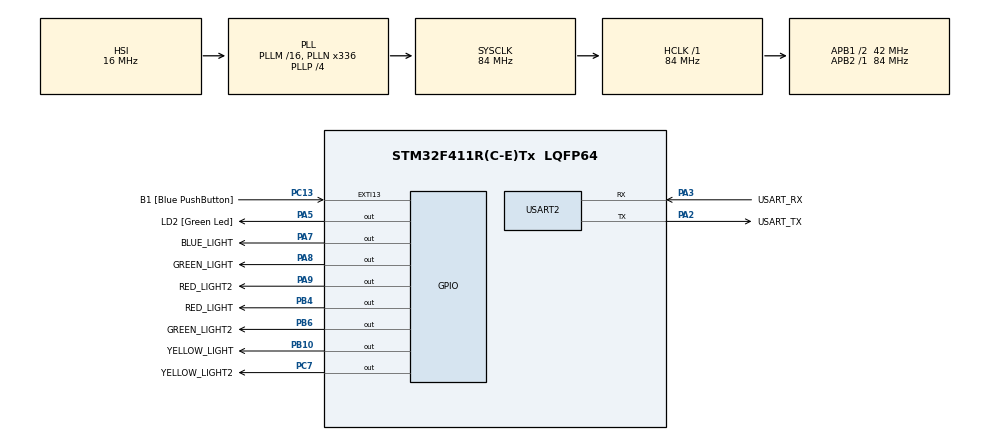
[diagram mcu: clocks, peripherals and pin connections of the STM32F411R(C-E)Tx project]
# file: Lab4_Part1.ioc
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FREERTOS.BinarySemaphores01=BinarySem1,Dynamic,NULL
FREERTOS.Tasks01=light1,24,128,StartLight1,Default,NULL,Dynamic,NULL,NULL;light2,24,128,StartLight2,Default,NULL,Dynamic,NULL,NULL
Mcu.Family=STM32F4
Mcu.Name=STM32F411R(C-E)Tx
Mcu.Package=LQFP64
NVIC.EXTI15_10_IRQn=true\:5\:0\:false\:false\:true\:true\:true\:true\:true
NVIC.PriorityGroup=NVIC_PRIORITYGROUP_4
NVIC.TIM5_IRQn=true\:15\:0\:false\:false\:true\:false\:false\:true\:true
NVIC.TimeBase=TIM5_IRQn
NVIC.TimeBaseIP=TIM5
PA13.GPIO_Label=TMS
PA13.Mode=Serial_Wire
PA13.Signal=SYS_JTMS-SWDIO
PA14.GPIO_Label=TCK
PA14.Mode=Serial_Wire
PA14.Signal=SYS_JTCK-SWCLK
PA2.GPIO_Label=USART_TX
PA2.Mode=Asynchronous
PA2.Signal=USART2_TX
PA3.GPIO_Label=USART_RX
PA3.Mode=Asynchronous
PA3.Signal=USART2_RX
PA5.GPIO_Label=LD2 [Green Led]
PA5.Signal=GPIO_Output
PA7.GPIO_Label=BLUE_LIGHT
PA7.Signal=GPIO_Output
PA8.GPIO_Label=GREEN_LIGHT
PA8.Signal=GPIO_Output
PA9.GPIO_Label=RED_LIGHT2
PA9.Signal=GPIO_Output
PB10.GPIO_Label=YELLOW_LIGHT
PB10.Signal=GPIO_Output
PB3.GPIO_Label=SWO
PB3.Signal=SYS_JTDO-SWO
PB4.GPIO_Label=RED_LIGHT
PB4.Signal=GPIO_Output
PB6.GPIO_Label=GREEN_LIGHT2
PB6.Signal=GPIO_Output
PC13-ANTI_TAMP.GPIO_Label=B1 [Blue PushButton]
PC13-ANTI_TAMP.GPIO_ModeDefaultEXTI=GPIO_MODE_IT_FALLING
PC13-ANTI_TAMP.Signal=GPXTI13
PC14-OSC32_IN.Mode=LSE-External-Oscillator
PC14-OSC32_IN.Signal=RCC_OSC32_IN
PC15-OSC32_OUT.Mode=LSE-External-Oscillator
PC15-OSC32_OUT.Signal=RCC_OSC32_OUT
PC7.GPIO_Label=YELLOW_LIGHT2
PC7.Signal=GPIO_Output
PH0\ -\ OSC_IN.Mode=HSE-External-Clock-Source
PH0\ -\ OSC_IN.Signal=RCC_OSC_IN
PH1\ -\ OSC_OUT.Mode=HSE-External-Clock-Source
PH1\ -\ OSC_OUT.Signal=RCC_OSC_OUT
ProjectManager.HeapSize=0x200
ProjectManager.StackSize=0x400
ProjectManager.TargetToolchain=STM32CubeIDE
RCC.48MHZClocksFreq_Value=84000000
RCC.AHBFreq_Value=84000000
RCC.APB1CLKDivider=RCC_HCLK_DIV2
RCC.APB1Freq_Value=42000000
RCC.APB1TimFreq_Value=84000000
RCC.APB2Freq_Value=84000000
RCC.APB2TimFreq_Value=84000000
RCC.CortexFreq_Value=84000000
RCC.FLatency-AdvancedSettings=FLASH_LATENCY_2
RCC.HCLKFreq_Value=84000000
RCC.HSE_VALUE=8000000
RCC.HSI_VALUE=16000000
RCC.PLLN=336
RCC.PLLP=RCC_PLLP_DIV4
RCC.SYSCLKFreq_VALUE=84000000
RCC.SYSCLKSource=RCC_SYSCLKSOURCE_PLLCLK
RCC.VCOOutputFreq_Value=336000000
USART2.VirtualMode=VM_ASYNC
VP_FREERTOS_VS_CMSIS_V2.Mode=CMSIS_V2
VP_SYS_VS_tim5.Mode=TIM5
board=NUCLEO-F411RE

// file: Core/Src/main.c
/* USER CODE BEGIN Header */
/**
  ******************************************************************************
  * @file           : main.c
  * @brief          : Main program body
  ******************************************************************************
  * @attention
  *
  * Copyright (c) 2023 STMicroelectronics.
  * All rights reserved.
  *
  * This software is licensed under terms that can be found in the LICENSE file
  * in the root directory of this software component.
  * If no LICENSE file comes with this software, it is provided AS-IS.
  *
  ******************************************************************************
  */
/* USER CODE END Header */
#include "main.h"
#include "cmsis_os.h"

UART_HandleTypeDef huart2;

/* Definitions for light1 */
osThreadId_t light1Handle;
const osThreadAttr_t light1_attributes = {
  .name = "light1",
  .stack_size = 128 * 4,
  .priority = (osPriority_t) osPriorityNormal,
};
/* Definitions for light2 */
osThreadId_t light2Handle;
const osThreadAttr_t light2_attributes = {
  .name = "light2",
  .stack_size = 128 * 4,
  .priority = (osPriority_t) osPriorityNormal,
};
/* Definitions for BinarySem1 */
osSemaphoreId_t BinarySem1Handle;
const osSemaphoreAttr_t BinarySem1_attributes = {
  .name = "BinarySem1"
};

void SystemClock_Config(void);
static void MX_GPIO_Init(void);
static void MX_USART2_UART_Init(void);
void StartLight1(void *argument);
void StartLight2(void *argument);

int main(void)
{

  /* MCU Configuration--------------------------------------------------------*/

  /* Reset of all peripherals, Initializes the Flash interface and the Systick. */
  HAL_Init();

  /* Configure the system clock */
  SystemClock_Config();

  /* Initialize all configured peripherals */
  MX_GPIO_Init();
  MX_USART2_UART_Init();

  /* Init scheduler */
  osKernelInitialize();

  /* Create the semaphores(s) */
  /* creation of BinarySem1 */
  BinarySem1Handle = osSemaphoreNew(1, 1, &BinarySem1_attributes);

  /* Create the thread(s) */
  /* creation of light1 */
  light1Handle = osThreadNew(StartLight1, NULL, &light1_attributes);

  /* creation of light2 */
  light2Handle = osThreadNew(StartLight2, NULL, &light2_attributes);

  /* Start scheduler */
  osKernelStart();
  /* We should never get here as control is now taken by the scheduler */
  /* Infinite loop */
  while (1)
  {

  }
}

void SystemClock_Config(void)
{
  RCC_OscInitTypeDef RCC_OscInitStruct = {0};
  RCC_ClkInitTypeDef RCC_ClkInitStruct = {0};

  /** Configure the main internal regulator output voltage
  */
  __HAL_RCC_PWR_CLK_ENABLE();
  __HAL_PWR_VOLTAGESCALING_CONFIG(PWR_REGULATOR_VOLTAGE_SCALE1);

  /** Initializes the RCC Oscillators according to the specified parameters
  * in the RCC_OscInitTypeDef structure.
  */
  RCC_OscInitStruct.OscillatorType = RCC_OSCILLATORTYPE_HSI;
  RCC_OscInitStruct.HSIState = RCC_HSI_ON;
  RCC_OscInitStruct.HSICalibrationValue = RCC_HSICALIBRATION_DEFAULT;
  RCC_OscInitStruct.PLL.PLLState = RCC_PLL_ON;
  RCC_OscInitStruct.PLL.PLLSource = RCC_PLLSOURCE_HSI;
  RCC_OscInitStruct.PLL.PLLM = 16;
  RCC_OscInitStruct.PLL.PLLN = 336;
  RCC_OscInitStruct.PLL.PLLP = RCC_PLLP_DIV4;
  RCC_OscInitStruct.PLL.PLLQ = 4;
  if (HAL_RCC_OscConfig(&RCC_OscInitStruct) != HAL_OK)
  {
    Error_Handler();
  }

  /** Initializes the CPU, AHB and APB buses clocks
  */
  RCC_ClkInitStruct.ClockType = RCC_CLOCKTYPE_HCLK|RCC_CLOCKTYPE_SYSCLK
                              |RCC_CLOCKTYPE_PCLK1|RCC_CLOCKTYPE_PCLK2;
  RCC_ClkInitStruct.SYSCLKSource = RCC_SYSCLKSOURCE_PLLCLK;
  RCC_ClkInitStruct.AHBCLKDivider = RCC_SYSCLK_DIV1;
  RCC_ClkInitStruct.APB1CLKDivider = RCC_HCLK_DIV2;
  RCC_ClkInitStruct.APB2CLKDivider = RCC_HCLK_DIV1;

  if (HAL_RCC_ClockConfig(&RCC_ClkInitStruct, FLASH_LATENCY_2) != HAL_OK)
  {
    Error_Handler();
  }
}

static void MX_USART2_UART_Init(void)
{

  huart2.Instance = USART2;
  huart2.Init.BaudRate = 115200;
  huart2.Init.WordLength = UART_WORDLENGTH_8B;
  huart2.Init.StopBits = UART_STOPBITS_1;
  huart2.Init.Parity = UART_PARITY_NONE;
  huart2.Init.Mode = UART_MODE_TX_RX;
  huart2.Init.HwFlowCtl = UART_HWCONTROL_NONE;
  huart2.Init.OverSampling = UART_OVERSAMPLING_16;
  if (HAL_UART_Init(&huart2) != HAL_OK)
  {
    Error_Handler();
  }

}

static void MX_GPIO_Init(void)
{
  GPIO_InitTypeDef GPIO_InitStruct = {0};

  /* GPIO Ports Clock Enable */
  __HAL_RCC_GPIOC_CLK_ENABLE();
  __HAL_RCC_GPIOH_CLK_ENABLE();
  __HAL_RCC_GPIOA_CLK_ENABLE();
  __HAL_RCC_GPIOB_CLK_ENABLE();

  /*Configure GPIO pin Output Level */
  HAL_GPIO_WritePin(GPIOA, LD2_Pin|BLUE_LIGHT_Pin|GREEN_LIGHT_Pin|RED_LIGHT2_Pin, GPIO_PIN_RESET);

  /*Configure GPIO pin Output Level */
  HAL_GPIO_WritePin(GPIOB, YELLOW_LIGHT_Pin|RED_LIGHT_Pin|GREEN_LIGHT2_Pin, GPIO_PIN_RESET);

  /*Configure GPIO pin Output Level */
  HAL_GPIO_WritePin(YELLOW_LIGHT2_GPIO_Port, YELLOW_LIGHT2_Pin, GPIO_PIN_RESET);

  /*Configure GPIO pin : B1_Pin */
  GPIO_InitStruct.Pin = B1_Pin;
  GPIO_InitStruct.Mode = GPIO_MODE_IT_FALLING;
  GPIO_InitStruct.Pull = GPIO_NOPULL;
  HAL_GPIO_Init(B1_GPIO_Port, &GPIO_InitStruct);

  /*Configure GPIO pins : LD2_Pin BLUE_LIGHT_Pin GREEN_LIGHT_Pin RED_LIGHT2_Pin */
  GPIO_InitStruct.Pin = LD2_Pin|BLUE_LIGHT_Pin|GREEN_LIGHT_Pin|RED_LIGHT2_Pin;
  GPIO_InitStruct.Mode = GPIO_MODE_OUTPUT_PP;
  GPIO_InitStruct.Pull = GPIO_NOPULL;
  GPIO_InitStruct.Speed = GPIO_SPEED_FREQ_LOW;
  HAL_GPIO_Init(GPIOA, &GPIO_InitStruct);

  /*Configure GPIO pins : YELLOW_LIGHT_Pin RED_LIGHT_Pin GREEN_LIGHT2_Pin */
  GPIO_InitStruct.Pin = YELLOW_LIGHT_Pin|RED_LIGHT_Pin|GREEN_LIGHT2_Pin;
  GPIO_InitStruct.Mode = GPIO_MODE_OUTPUT_PP;
  GPIO_InitStruct.Pull = GPIO_NOPULL;
  GPIO_InitStruct.Speed = GPIO_SPEED_FREQ_LOW;
  HAL_GPIO_Init(GPIOB, &GPIO_InitStruct);

  /*Configure GPIO pin : YELLOW_LIGHT2_Pin */
  GPIO_InitStruct.Pin = YELLOW_LIGHT2_Pin;
  GPIO_InitStruct.Mode = GPIO_MODE_OUTPUT_PP;
  GPIO_InitStruct.Pull = GPIO_NOPULL;
  GPIO_InitStruct.Speed = GPIO_SPEED_FREQ_LOW;
  HAL_GPIO_Init(YELLOW_LIGHT2_GPIO_Port, &GPIO_InitStruct);

  /* EXTI interrupt init*/
  HAL_NVIC_SetPriority(EXTI15_10_IRQn, 5, 0);
  HAL_NVIC_EnableIRQ(EXTI15_10_IRQn);

}

/* USER CODE BEGIN 4 */
int buttonPress = 0;
/* USER CODE END 4 */
void EXTI15_10_IRQHandler(void)
{
  /* USER CODE BEGIN EXTI15_10_IRQn 0 */
	buttonPress = 1;
  /* USER CODE END EXTI15_10_IRQn 0 */
  HAL_GPIO_EXTI_IRQHandler(B1_Pin);
}
void StartCrossing() {
	  HAL_GPIO_WritePin(GPIOA, BLUE_LIGHT_Pin, GPIO_PIN_SET);		// BLUE turned on
	  osDelay(2000);
	  HAL_GPIO_WritePin(GPIOA, BLUE_LIGHT_Pin, GPIO_PIN_RESET);		// BLUE turned off

	  /* Flashes on and off for 2s */
	  int count = 4;
	  while(count > 0) {
		  HAL_GPIO_WritePin(GPIOA, BLUE_LIGHT_Pin, GPIO_PIN_SET);	// BLUE turned on
		  osDelay(250);												// 0.25s delay
		  HAL_GPIO_WritePin(GPIOA, BLUE_LIGHT_Pin, GPIO_PIN_RESET);	// BLUE turned off
		  osDelay(250);
		  count--;
	  }
}
void StartLight1(void *argument)
{
  /* USER CODE BEGIN 5 */
	HAL_GPIO_WritePin(GPIOA, RED_LIGHT2_Pin, GPIO_PIN_SET); // initially sets RED2 to be on
		  /* Infinite loop */
  for(;;)
  {
	  osSemaphoreAcquire(BinarySem1Handle, osWaitForever); 	// waits forever for semaphore to become available

	  HAL_GPIO_WritePin(GPIOB, RED_LIGHT_Pin, GPIO_PIN_RESET);		// RED1 turned off

	  HAL_GPIO_WritePin(GPIOA, GREEN_LIGHT_Pin, GPIO_PIN_SET);		// GREEN1 turned on
	  if (buttonPress == 1){
	  	StartCrossing();
	  	buttonPress = 0;
	  	HAL_GPIO_WritePin(GPIOA, GREEN_LIGHT_Pin, GPIO_PIN_RESET);	// GREEN1 turned off
	  } else {
		  osDelay(4000);												// 4s delay
		  HAL_GPIO_WritePin(GPIOA, GREEN_LIGHT_Pin, GPIO_PIN_RESET);	// GREEN1 turned off
	  }

	  HAL_GPIO_WritePin(GPIOB, YELLOW_LIGHT_Pin, GPIO_PIN_SET);		// YELLOW1 turned on
	  osDelay(1500);												// 1.5s delay
	  HAL_GPIO_WritePin(GPIOB, YELLOW_LIGHT_Pin, GPIO_PIN_RESET);	// YELLOW1 turned off

	  HAL_GPIO_WritePin(GPIOB, RED_LIGHT_Pin, GPIO_PIN_SET);		// RED1 turned on
	  osDelay(1000);												// 1s delay

	  osSemaphoreRelease(BinarySem1Handle);		//releases semaphore for next task
	  osDelay(1);
  }
  /* USER CODE END 5 */
}

void StartLight2(void *argument)
{
  /* USER CODE BEGIN StartLight2 */
  /* Infinite loop */
  for(;;)
  {
	  osSemaphoreAcquire(BinarySem1Handle, osWaitForever); 	// waits forever for semaphore to become available

	  HAL_GPIO_WritePin(GPIOA, RED_LIGHT2_Pin, GPIO_PIN_RESET);		// RED2 turned off

	  HAL_GPIO_WritePin(GPIOB, GREEN_LIGHT2_Pin, GPIO_PIN_SET);		// GREEN2 turned on
	  if (buttonPress == 1){
			StartCrossing();
			buttonPress = 0;
			HAL_GPIO_WritePin(GPIOA, GREEN_LIGHT_Pin, GPIO_PIN_RESET);	// GREEN1 turned off
	  } else {
			osDelay(4000);												// 4s delay
			HAL_GPIO_WritePin(GPIOA, GREEN_LIGHT_Pin, GPIO_PIN_RESET);	// GREEN1 turned off
	  }											// 4s delay
	  HAL_GPIO_WritePin(GPIOB, GREEN_LIGHT2_Pin, GPIO_PIN_RESET);	// GREEN2 turned off

	  HAL_GPIO_WritePin(YELLOW_LIGHT2_GPIO_Port, YELLOW_LIGHT2_Pin, GPIO_PIN_SET);	// YELLOW2 turned on
	  osDelay(1500);												// 1.5s delay
	  HAL_GPIO_WritePin(YELLOW_LIGHT2_GPIO_Port, YELLOW_LIGHT2_Pin, GPIO_PIN_RESET);	// YELLOW2 turned off

	  HAL_GPIO_WritePin(GPIOA, RED_LIGHT2_Pin, GPIO_PIN_SET);		// RED2 turned on
	  osDelay(1000);												// 7.5s delay to give other task time to complete

	  osSemaphoreRelease(BinarySem1Handle);		//releases semaphore for next task
	  osDelay(1);
  }
  /* USER CODE END StartLight2 */
}

void HAL_TIM_PeriodElapsedCallback(TIM_HandleTypeDef *htim)
{
  if (htim->Instance == TIM5) {
    HAL_IncTick();
  }
}

void Error_Handler(void)
{
  __disable_irq();
  while (1)
  {
  }
}
